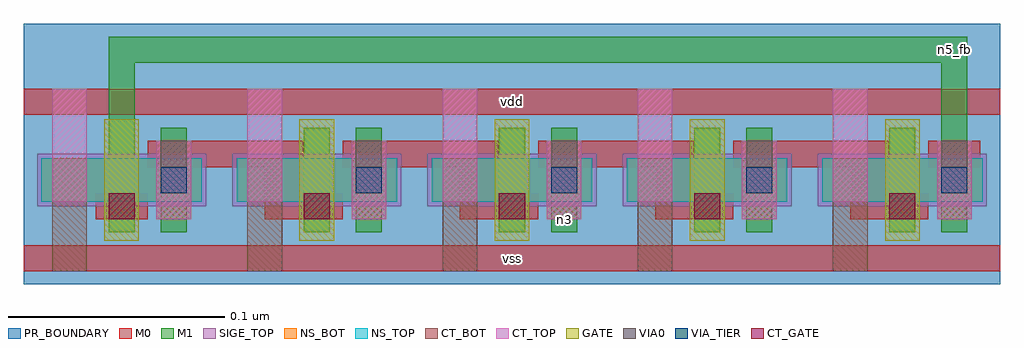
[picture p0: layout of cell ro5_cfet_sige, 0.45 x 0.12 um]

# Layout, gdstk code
import gdstk
lib = gdstk.Library(unit=1e-6, precision=1e-09)
def R(c, l, rs):  # rectangles x0, y0, x1, y1
    for r in rs: c.add(gdstk.rectangle(r[:2], r[2:], *l))
def A(c, l, x, y, w, h, nx, ny, dx, dy):  # array of equal rectangles
    R(c, l, [(x+i*dx, y+j*dy, x+i*dx+w, y+j*dy+h) for i in range(nx) for j in range(ny)])
PR_BOUNDARY = (1, 0)
NS_BOT = (10, 0)
NS_TOP = (11, 0)
GATE = (20, 0)
CT_GATE = (21, 0)
CT_BOT = (30, 0)
CT_TOP = (31, 0)
VIA_TIER = (35, 0)
M0 = (40, 0)
VIA0 = (41, 0)
M1 = (42, 0)
SIGE_TOP = (50, 0)

inv_cfet_sige = lib.new_cell('inv_cfet_sige')
R(inv_cfet_sige, PR_BOUNDARY, [(0,0,0.09,0.096)])
R(inv_cfet_sige, NS_BOT, [(0.008,0.038,0.082,0.058)])
R(inv_cfet_sige, NS_TOP, [(0.008,0.038,0.082,0.058)])
R(inv_cfet_sige, GATE, [(0.037,0.02,0.053,0.076)])
R(inv_cfet_sige, CT_GATE, [(0.039,0.03,0.051,0.042)])
R(inv_cfet_sige, CT_BOT, [(0.013,0.006,0.029,0.058), (0.061,0.03,0.077,0.066)])
R(inv_cfet_sige, CT_TOP, [(0.061,0.03,0.077,0.066), (0.013,0.038,0.029,0.09)])
R(inv_cfet_sige, VIA_TIER, [(0.063,0.042,0.075,0.054)])
R(inv_cfet_sige, M0, [(0,0.006,0.09,0.018), (0.033,0.03,0.057,0.042), (0.057,0.054,0.081,0.066), (0,0.078,0.09,0.09)])
R(inv_cfet_sige, VIA0, [(0.039,0.03,0.051,0.042), (0.063,0.054,0.075,0.066)])
R(inv_cfet_sige, M1, [(0.039,0.024,0.051,0.072), (0.063,0.024,0.075,0.072)])
R(inv_cfet_sige, SIGE_TOP, [(0.006,0.036,0.084,0.06)])
inv_cfet_sige.add(gdstk.Label('in', (0.045,0.048), layer=42, texttype=1))
inv_cfet_sige.add(gdstk.Label('out', (0.069,0.048), layer=42, texttype=1))
inv_cfet_sige.add(gdstk.Label('vdd', (0.045,0.084), layer=40, texttype=1))
inv_cfet_sige.add(gdstk.Label('vss', (0.045,0.012), layer=40, texttype=1))

ro5_cfet_sige = lib.new_cell('ro5_cfet_sige')
R(ro5_cfet_sige, PR_BOUNDARY, [(0,0,0.45,0.12)])
A(ro5_cfet_sige, M0, 0.111, 0.03, 0.018, 0.036, 4, 1, 0.09, 0)
A(ro5_cfet_sige, M0, 0.081, 0.054, 0.048, 0.012, 4, 1, 0.09, 0)
R(ro5_cfet_sige, M1, [(0.039,0.072,0.051,0.114), (0.423,0.072,0.435,0.114), (0.039,0.102,0.435,0.114)])
ro5_cfet_sige.add(gdstk.Reference(inv_cfet_sige, (0,0)))
ro5_cfet_sige.add(gdstk.Reference(inv_cfet_sige, (0.09,0)))
ro5_cfet_sige.add(gdstk.Reference(inv_cfet_sige, (0.18,0)))
ro5_cfet_sige.add(gdstk.Reference(inv_cfet_sige, (0.27,0)))
ro5_cfet_sige.add(gdstk.Reference(inv_cfet_sige, (0.36,0)))
ro5_cfet_sige.add(gdstk.Label('n3', (0.249,0.03), layer=42, texttype=1))
ro5_cfet_sige.add(gdstk.Label('n5_fb', (0.429,0.108), layer=42, texttype=1))
ro5_cfet_sige.add(gdstk.Label('vdd', (0.225,0.084), layer=40, texttype=1))
ro5_cfet_sige.add(gdstk.Label('vss', (0.225,0.012), layer=40, texttype=1))

lib.write_gds('ro5_cfet_sige.gds')
